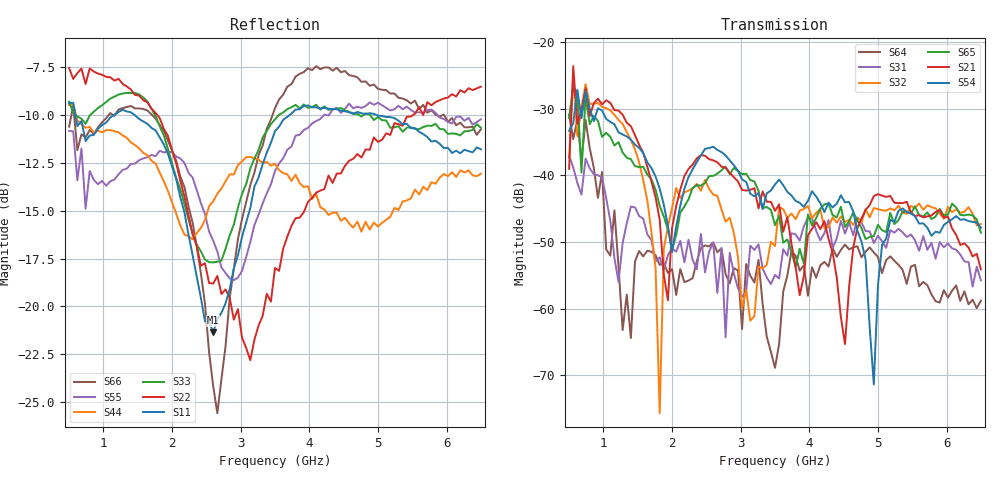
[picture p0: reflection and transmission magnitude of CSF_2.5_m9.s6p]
!Keysight Technologies,M9804A,MY58100912,A.14.10.03
!Date: Thursday, April 27, 2023 10:28:33
!Correction: S11(C  6-Port  )
!S12(C  6-Port  )
!S13(C  6-Port  )
!S14(C  6-Port  )
!S15(C  6-Port  )
!S16(C  6-Port  )
!S21(C  6-Port  )
!S22(C  6-Port  )
!S23(C  6-Port  )
!S24(C  6-Port  )
!S25(C  6-Port  )
!S26(C  6-Port  )
!S31(C  6-Port  )
!S32(C  6-Port  )
!S33(C  6-Port  )
!S34(C  6-Port  )
!S35(C  6-Port  )
!S36(C  6-Port  )
!S41(C  6-Port  )
!S42(C  6-Port  )
!S43(C  6-Port  )
!S44(C  6-Port  )
!S45(C  6-Port  )
!S46(C  6-Port  )
!S51(C  6-Port  )
!S52(C  6-Port  )
!S53(C  6-Port  )
!S54(C  6-Port  )
!S55(C  6-Port  )
!S56(C  6-Port  )
!S61(C  6-Port  )
!S62(C  6-Port  )
!S63(C  6-Port  )
!S64(C  6-Port  )
!S65(C  6-Port  )
!S66(C  6-Port  )
!S6P File: Measurement: :
# Hz S  RI  R 50
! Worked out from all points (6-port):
!   101 points, 500 MHz to 6.5 GHz, reference 50 ohm
!   strongest paths, dB at 500 MHz, 2 GHz, 3.5 GHz, 5 GHz, 6.5 GHz:
!     S54: -33.3, -51.5, -41.4, -56.5, -47.9
!     S21: -39.0, -47.9, -45.3, -42.8, -54.1
!     S65: -31.4, -51.2, -47.5, -47.4, -48.6
!     S32: -37.3, -44.9, -50.6, -45.1, -47.3
!     S31: -37.0, -51.0, -54.9, -49.1, -55.8
!     S64: -30.9, -54.1, -68.9, -52.3, -58.8
!   lowest |S11| = -21.4 dB at 2.6 GHz (marker M1), VSWR 1.19, Z = 42.4 + j2.29 ohm
!   |S11| at or under -10 dB: 592.2 MHz to 1.146 GHz (554 MHz wide, 63.7 % of centre); 1.459 GHz to 3.708 GHz (2.249 GHz wide, 87 % of centre); 4.988 GHz to end of sweep
